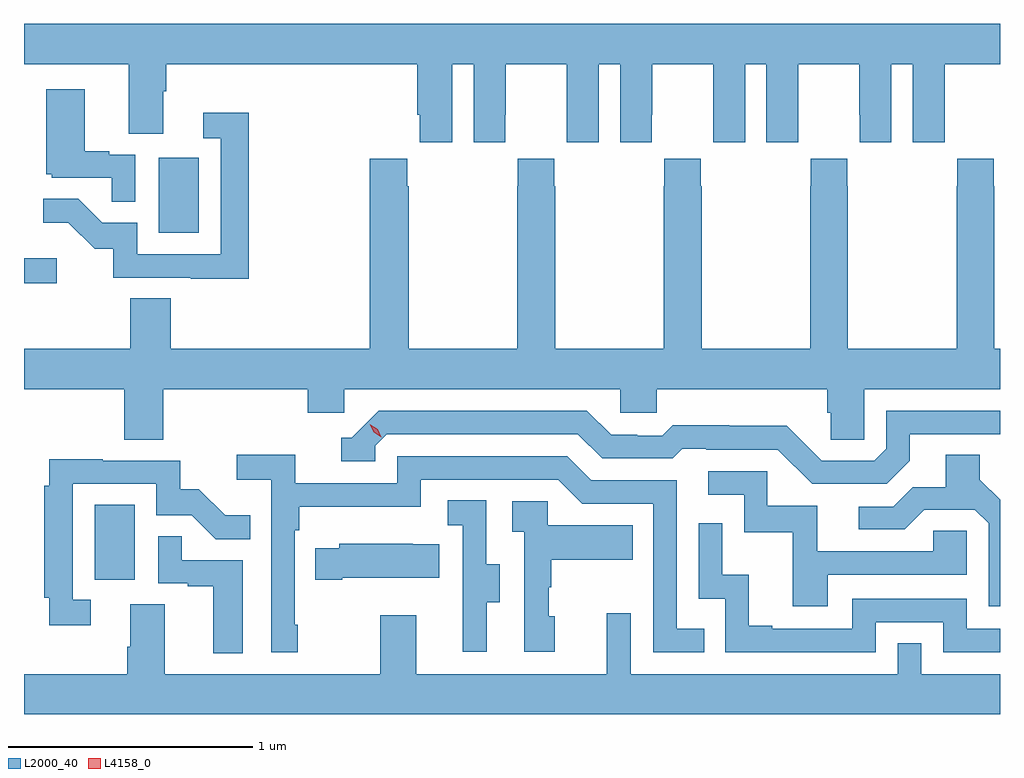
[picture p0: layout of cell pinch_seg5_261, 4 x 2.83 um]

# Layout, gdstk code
import gdstk
lib = gdstk.Library(unit=1e-6, precision=1e-09)
def R(c, l, rs):  # rectangles x0, y0, x1, y1
    for r in rs: c.add(gdstk.rectangle(r[:2], r[2:], *l))
def P(c, l, *ps):  # polygons
    for p in ps: c.add(gdstk.Polygon(p, *l))
L2000_40 = (2000, 40)
L4158_0 = (4158, 0)

pinch_seg5_261 = lib.new_cell('pinch_seg5_261')
R(pinch_seg5_261, L2000_40, [(896.81,902.598,896.974,902.905), (896.521,903.814,896.656,903.916), (897.074,904.02,897.238,904.327)])
P(pinch_seg5_261, L2000_40, [(898.276,904.712),(898.364,904.712),(898.364,904.392),(898.494,904.392),(898.494,904.504),(898.495,904.504),(898.495,904.712),(898.745,904.712),(898.745,904.504),(898.746,904.504),(898.746,904.392),(898.876,904.392),(898.876,904.712),(898.964,904.712),(898.964,904.392),(899.094,904.392),(899.094,904.504),(899.095,904.504),(899.095,904.712),(899.345,904.712),(899.345,904.504),(899.346,904.504),(899.346,904.392),(899.476,904.392),(899.476,904.712),(899.564,904.712),(899.564,904.392),(899.694,904.392),(899.694,904.504),(899.695,904.504),(899.695,904.712),(899.945,904.712),(899.945,904.504),(899.946,904.504),(899.946,904.392),(900.076,904.392),(900.076,904.712),(900.164,904.712),(900.164,904.392),(900.294,904.392),(900.294,904.504),(900.295,904.504),(900.295,904.712),(900.521,904.712),(900.521,904.876),(896.521,904.876),(896.521,904.712),(896.951,904.712),(896.951,904.426),(897.091,904.426),(897.091,904.6),(897.104,904.6),(897.104,904.712),(898.133,904.712),(898.133,904.504),(898.142,904.504),(898.142,904.392),(898.276,904.392)],
  [(896.976,904.341),(896.87,904.341),(896.87,904.354),(896.77,904.354),(896.77,904.609),(896.612,904.609),(896.612,904.26),(896.634,904.26),(896.634,904.245),(896.881,904.245),(896.881,904.147),(896.976,904.147)],
  [(897.443,904.513),(897.255,904.513),(897.255,904.407),(897.327,904.407),(897.327,903.933),(896.985,903.933),(896.985,904.062),(896.841,904.062),(896.743,904.16),(896.599,904.16),(896.599,904.061),(896.703,904.061),(896.81,903.954),(896.887,903.954),(896.887,903.837),(897.205,903.837),(897.205,903.832),(897.443,903.832)],
  [(899.145,904.324),(899.145,904.211),(899.143,904.211),(899.143,903.544),(898.698,903.544),(898.698,904.211),(898.695,904.211),(898.695,904.324),(898.545,904.324),(898.545,904.211),(898.543,904.211),(898.543,903.544),(898.098,903.544),(898.098,904.211),(898.091,904.211),(898.091,904.324),(897.938,904.324),(897.938,903.544),(897.122,903.544),(897.122,903.752),(896.957,903.752),(896.957,903.544),(896.521,903.544),(896.521,903.38),(896.932,903.38),(896.932,903.172),(897.092,903.172),(897.092,903.38),(897.683,903.38),(897.683,903.282),(897.834,903.282),(897.834,903.38),(898.965,903.38),(898.965,903.282),(899.115,903.282),(899.115,903.38),(899.813,903.38),(899.813,903.282),(899.827,903.282),(899.827,903.172),(899.964,903.172),(899.964,903.38),(900.521,903.38),(900.521,903.544),(900.498,903.544),(900.498,904.211),(900.495,904.211),(900.495,904.324),(900.345,904.324),(900.345,904.211),(900.343,904.211),(900.343,903.544),(899.898,903.544),(899.898,904.211),(899.895,904.211),(899.895,904.324),(899.745,904.324),(899.745,904.211),(899.743,904.211),(899.743,903.544),(899.298,903.544),(899.298,904.211),(899.295,904.211),(899.295,904.324)],
  [(900.151,903.085),(900.151,903.195),(900.521,903.195),(900.521,903.291),(900.054,903.291),(900.054,903.135),(900.006,903.087),(899.79,903.087),(899.648,903.229),(899.412,903.229),(899.412,903.232),(899.179,903.232),(899.137,903.189),(899.034,903.189),(899.034,903.192),(898.927,903.192),(898.828,903.291),(897.975,903.291),(897.864,903.18),(897.821,903.18),(897.821,903.084),(897.96,903.084),(897.96,903.147),(898.008,903.195),(898.791,903.195),(898.89,903.096),(899.179,903.096),(899.218,903.135),(899.317,903.135),(899.317,903.132),(899.61,903.132),(899.751,902.991),(900.057,902.991)],
  [(900.521,902.926),(900.439,903.008),(900.439,903.11),(900.299,903.11),(900.299,902.978),(900.164,902.978),(900.084,902.898),(899.943,902.898),(899.943,902.805),(900.13,902.805),(900.211,902.886),(900.417,902.886),(900.474,902.829),(900.474,902.49),(900.521,902.49)],
  [(897.643,902.413),(897.63,902.413),(897.63,902.801),(897.65,902.801),(897.65,902.897),(898.146,902.897),(898.146,903.009),(898.71,903.009),(898.809,902.91),(899.1,902.91),(899.1,902.301),(899.309,902.301),(899.309,902.397),(899.196,902.397),(899.196,903.006),(898.846,903.006),(898.747,903.105),(898.05,903.105),(898.05,902.994),(897.632,902.994),(897.632,903.11),(897.393,903.11),(897.393,903.008),(897.534,903.008),(897.534,902.301),(897.643,902.301)],
  [(896.794,902.517),(896.721,902.517),(896.721,902.991),(897.063,902.991),(897.063,902.862),(897.208,902.862),(897.306,902.764),(897.449,902.764),(897.449,902.863),(897.345,902.863),(897.238,902.97),(897.162,902.97),(897.162,903.087),(896.843,903.087),(896.843,903.092),(896.624,903.092),(896.624,902.984),(896.605,902.984),(896.605,902.524),(896.624,902.524),(896.624,902.412),(896.794,902.412)],
  [(899.815,902.619),(900.384,902.619),(900.384,902.799),(900.247,902.799),(900.247,902.715),(899.773,902.715),(899.773,902.901),(899.568,902.901),(899.568,903.042),(899.325,903.042),(899.325,902.946),(899.472,902.946),(899.472,902.793),(899.671,902.793),(899.671,902.49),(899.815,902.49)],
  [(898.417,902.506),(898.471,902.506),(898.471,902.661),(898.416,902.661),(898.416,902.924),(898.257,902.924),(898.257,902.821),(898.32,902.821),(898.32,902.517),(898.319,902.517),(898.319,902.304),(898.417,902.304)],
  [(898.696,902.448),(898.671,902.448),(898.671,902.567),(898.681,902.567),(898.681,902.681),(899.015,902.681),(899.015,902.821),(898.668,902.821),(898.668,902.919),(898.521,902.919),(898.521,902.795),(898.572,902.795),(898.572,902.304),(898.696,902.304)],
  [(900.012,902.424),(900.288,902.424),(900.288,902.301),(900.521,902.301),(900.521,902.397),(900.384,902.397),(900.384,902.52),(899.916,902.52),(899.916,902.397),(899.587,902.397),(899.587,902.41),(899.492,902.41),(899.492,902.618),(899.382,902.618),(899.382,902.83),(899.286,902.83),(899.286,902.52),(899.394,902.52),(899.394,902.301),(900.012,902.301)],
  [(897.418,902.679),(897.167,902.679),(897.167,902.777),(897.072,902.777),(897.072,902.583),(897.193,902.583),(897.193,902.571),(897.296,902.571),(897.296,902.297),(897.418,902.297)],
  [(897.826,902.606),(898.223,902.606),(898.223,902.743),(898.115,902.743),(898.115,902.746),(897.813,902.746),(897.813,902.728),(897.715,902.728),(897.715,902.599),(897.826,902.599)],
  [(900.521,902.212),(900.198,902.212),(900.198,902.339),(900.102,902.339),(900.102,902.212),(899.007,902.212),(899.007,902.461),(898.91,902.461),(898.91,902.212),(898.129,902.212),(898.129,902.452),(897.982,902.452),(897.982,902.212),(897.097,902.212),(897.097,902.498),(896.957,902.498),(896.957,902.324),(896.945,902.324),(896.945,902.212),(896.521,902.212),(896.521,902.048),(900.521,902.048)])
P(pinch_seg5_261, L4158_0, [(897.985,903.182),(897.955,903.202),(897.939,903.235),(897.939,903.235),(897.939,903.235),(897.97,903.215),(897.986,903.183),(897.986,903.182)])

lib.write_gds('pinch_seg5_261.gds')
